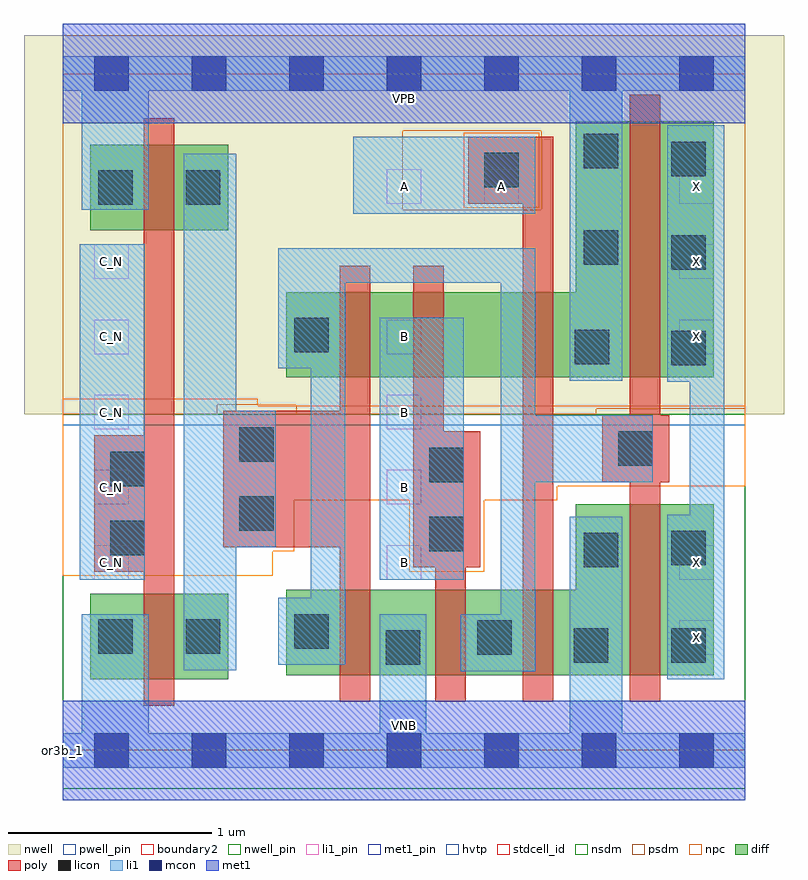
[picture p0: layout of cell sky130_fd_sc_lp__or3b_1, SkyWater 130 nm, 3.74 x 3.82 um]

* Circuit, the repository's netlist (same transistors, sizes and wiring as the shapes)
* Copyright 2020 The SkyWater PDK Authors
*
* Licensed under the Apache License, Version 2.0 (the "License");
* you may not use this file except in compliance with the License.
* You may obtain a copy of the License at
*
*     https://www.apache.org/licenses/LICENSE-2.0
*
* Unless required by applicable law or agreed to in writing, software
* distributed under the License is distributed on an "AS IS" BASIS,
* WITHOUT WARRANTIES OR CONDITIONS OF ANY KIND, either express or implied.
* See the License for the specific language governing permissions and
* limitations under the License.
*
* SPDX-License-Identifier: Apache-2.0

.SUBCKT sky130_fd_sc_lp__or3b_1 A B C_N VGND VNB VPB VPWR X
*.PININFO A:I B:I C_N:I VGND:I VNB:I VPB:I VPWR:I X:O
MMP0 VPWR A sndPA VPB sky130_fd_pr__pfet_01v8_hvt m=1 w=0.42U l=0.15U mult=1 sa=0.265
+ sb=0.265 sd=0.28 area=0.063 perim=1.14
MMP1 sndPA B sndPB VPB sky130_fd_pr__pfet_01v8_hvt m=1 w=0.42U l=0.15U mult=1 sa=0.265
+ sb=0.265 sd=0.28 area=0.063 perim=1.14
MMP2 sndPB C y VPB sky130_fd_pr__pfet_01v8_hvt m=1 w=0.42U l=0.15U mult=1 sa=0.265
+ sb=0.265 sd=0.28 area=0.063 perim=1.14
MMIP2 C C_N VPWR VPB sky130_fd_pr__pfet_01v8_hvt m=1 w=0.42U l=0.15U mult=1 sa=0.265
+ sb=0.265 sd=0.28 area=0.063 perim=1.14
MMIP3 X y VPWR VPB sky130_fd_pr__pfet_01v8_hvt m=1 w=1.26U l=0.15U mult=1 sa=0.265
+ sb=0.265 sd=0.28 area=0.063 perim=1.14
MMN0 y A VGND VNB sky130_fd_pr__nfet_01v8 m=1 w=0.42U l=0.15U mult=1 sa=0.265 sb=0.265
+ sd=0.28 area=0.063 perim=1.14
MMN1 y B VGND VNB sky130_fd_pr__nfet_01v8 m=1 w=0.42U l=0.15U mult=1 sa=0.265 sb=0.265
+ sd=0.28 area=0.063 perim=1.14
MMN2 y C VGND VNB sky130_fd_pr__nfet_01v8 m=1 w=0.42U l=0.15U mult=1 sa=0.265 sb=0.265
+ sd=0.28 area=0.063 perim=1.14
MMIN2 C C_N VGND VNB sky130_fd_pr__nfet_01v8 m=1 w=0.42U l=0.15U mult=1 sa=0.265
+ sb=0.265 sd=0.28 area=0.063 perim=1.14
MMIN3 X y VGND VNB sky130_fd_pr__nfet_01v8 m=1 w=0.84U l=0.15U mult=1 sa=0.265
+ sb=0.265 sd=0.28 area=0.063 perim=1.14
.ENDS sky130_fd_sc_lp__or3b_1

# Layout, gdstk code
import gdstk
lib = gdstk.Library(unit=1e-6, precision=1e-09)
def R(c, l, rs):  # rectangles x0, y0, x1, y1
    for r in rs: c.add(gdstk.rectangle(r[:2], r[2:], *l))
def A(c, l, x, y, w, h, nx, ny, dx, dy):  # array of equal rectangles
    R(c, l, [(x+i*dx, y+j*dy, x+i*dx+w, y+j*dy+h) for i in range(nx) for j in range(ny)])
def P(c, l, *ps):  # polygons
    for p in ps: c.add(gdstk.Polygon(p, *l))
nwell_pin = (64, 16)
nwell = (64, 20)
diff = (65, 20)
poly = (66, 20)
licon = (66, 44)
li1_pin = (67, 16)
li1 = (67, 20)
mcon = (67, 44)
met1_pin = (68, 16)
met1 = (68, 20)
hvtp = (78, 44)
stdcell_id = (81, 4)
nsdm = (93, 44)
psdm = (94, 20)
npc = (95, 20)
pwell_pin = (122, 16)
boundary2 = (236, 0)

sky130_fd_sc_lp__or3b_1 = lib.new_cell('sky130_fd_sc_lp__or3b_1')
R(sky130_fd_sc_lp__or3b_1, nwell_pin, [(0,3.085,3.36,3.33)])
R(sky130_fd_sc_lp__or3b_1, nwell, [(-0.19,1.655,3.55,3.52)])
R(sky130_fd_sc_lp__or3b_1, diff, [(0.135,0.35,0.815,0.77), (0.135,2.56,0.815,2.98)])
P(sky130_fd_sc_lp__or3b_1, diff, [(3.205,1.21),(2.525,1.21),(2.525,0.79),(1.1,0.79),(1.1,0.37),(3.205,0.37)],
  [(3.205,3.095),(2.525,3.095),(2.525,2.255),(1.1,2.255),(1.1,1.835),(3.205,1.835)])
P(sky130_fd_sc_lp__or3b_1, poly, [(0.55,3.11),(0.4,3.11),(0.4,1.55),(0.155,1.55),(0.155,0.88),(0.4,0.88),(0.4,0.22),(0.55,0.22)],
  [(2.985,1.65),(2.94,1.65),(2.94,3.225),(2.79,3.225),(2.79,1.65),(2.655,1.65),(2.655,1.32),(2.79,1.32),(2.79,0.24),(2.94,0.24),(2.94,1.32),(2.985,1.32)],
  [(2.415,3.02),(1.995,3.02),(1.995,2.69),(2.265,2.69),(2.265,0.24),(2.415,0.24)],
  [(2.055,1.57),(1.875,1.57),(1.875,2.385),(1.725,2.385),(1.725,0.9),(1.835,0.9),(1.835,0.24),(1.985,0.24),(1.985,0.9),(2.055,0.9)],
  [(1.515,2.385),(1.365,2.385),(1.365,1.67),(0.79,1.67),(0.79,1),(1.365,1),(1.365,0.24),(1.515,0.24)])
R(sky130_fd_sc_lp__or3b_1, licon, [(1.59,0.42,1.76,0.59), (2.515,0.43,2.685,0.6), (2.995,0.43,3.165,0.6), (2.04,0.47,2.21,0.64), (0.175,0.475,0.345,0.645), (0.605,0.475,0.775,0.645), (1.14,0.5,1.31,0.67), (2.565,0.9,2.735,1.07), (2.995,0.91,3.165,1.08), (0.235,0.96,0.405,1.13), (1.805,0.98,1.975,1.15), (0.87,1.08,1.04,1.25), (0.235,1.3,0.405,1.47), (1.805,1.32,1.975,1.49), (2.735,1.4,2.905,1.57), (0.87,1.42,1.04,1.59), (2.995,1.895,3.165,2.065), (2.52,1.9,2.69,2.07), (1.14,1.96,1.31,2.13), (2.995,2.365,3.165,2.535), (2.565,2.39,2.735,2.56), (0.175,2.685,0.345,2.855), (0.605,2.685,0.775,2.855), (2.075,2.77,2.245,2.94), (2.995,2.825,3.165,2.995), (2.565,2.865,2.735,3.035)])
A(sky130_fd_sc_lp__or3b_1, li1_pin, 0.155, 0.84, 0.17, 0.17, 3, 2, 1.44, 1.11)
R(sky130_fd_sc_lp__or3b_1, li1_pin, [(3.035,0.47,3.205,0.64), (0.155,1.21,0.325,1.38), (1.595,1.21,1.765,1.38), (0.155,1.58,0.325,1.75), (1.595,1.58,1.765,1.75), (0.155,2.32,0.325,2.49), (3.035,2.32,3.205,2.49), (1.595,2.69,1.765,2.86), (2.075,2.69,2.245,2.86), (3.035,2.69,3.205,2.86)])
R(sky130_fd_sc_lp__or3b_1, li1, [(0.085,0.84,0.405,2.49), (1.56,0.84,1.975,2.13), (1.43,2.64,2.325,3.02)])
P(sky130_fd_sc_lp__or3b_1, li1, [(3.255,3.075),(2.975,3.075),(2.975,1.815),(3.085,1.815),(3.085,1.16),(2.975,1.16),(2.975,0.35),(3.255,0.35)],
  [(1.05,1.67),(0.855,1.67),(0.855,2.935),(0.595,2.935),(0.595,0.395),(0.855,0.395),(0.855,1),(1.05,1)],
  [(2.905,1.65),(2.325,1.65),(2.325,2.47),(1.06,2.47),(1.06,1.88),(1.22,1.88),(1.22,0.75),(1.06,0.75),(1.06,0.42),(1.39,0.42),(1.39,2.3),(2.155,2.3),(2.155,0.67),(1.96,0.67),(1.96,0.39),(2.325,0.39),(2.325,1.32),(2.905,1.32)],
  [(3.36,0.085),(2.755,0.085),(2.755,1.15),(2.495,1.15),(2.495,0.085),(1.79,0.085),(1.79,0.67),(1.56,0.67),(1.56,0.085),(0.425,0.085),(0.425,0.67),(0.095,0.67),(0.095,0.085),(0,0.085),(0,-0.085),(3.36,-0.085)],
  [(3.36,3.415),(0,3.415),(0,3.245),(0.095,3.245),(0.095,2.66),(0.425,2.66),(0.425,3.245),(2.495,3.245),(2.495,1.82),(2.755,1.82),(2.755,3.245),(3.36,3.245)])
A(sky130_fd_sc_lp__or3b_1, mcon, 0.155, -0.085, 0.17, 0.17, 7, 2, 0.48, 3.33)
R(sky130_fd_sc_lp__or3b_1, met1_pin, [(0,0,3.36,0.245), (0,3.085,3.36,3.33)])
R(sky130_fd_sc_lp__or3b_1, met1, [(0,-0.245,3.36,0.245), (0,3.085,3.36,3.575)])
R(sky130_fd_sc_lp__or3b_1, hvtp, [(0,1.6,3.36,3.33)])
R(sky130_fd_sc_lp__or3b_1, stdcell_id, [(0,0,3.36,3.33)])
R(sky130_fd_sc_lp__or3b_1, nsdm, [(0,-0.19,3.36,1.655)])
P(sky130_fd_sc_lp__or3b_1, psdm, [(3.36,3.52),(2.355,3.52),(2.355,2.66),(1.675,2.66),(1.675,3.05),(2.355,3.05),(2.355,3.52),(0,3.52),(0,1.655),(0.76,1.655),(0.76,1.7),(1.15,1.7),(1.15,1.655),(2.625,1.655),(2.625,1.68),(3.36,1.68)])
R(sky130_fd_sc_lp__or3b_1, npc, [(1.975,2.67,2.345,3.04)])
P(sky130_fd_sc_lp__or3b_1, npc, [(3.36,1.695),(0.96,1.695),(0.96,1.73),(0,1.73),(0,0.86),(1.035,0.86),(1.035,0.98),(1.14,0.98),(1.14,1.23),(1.705,1.23),(1.705,0.88),(2.075,0.88),(2.075,1.23),(2.435,1.23),(2.435,1.3),(3.36,1.3)])
R(sky130_fd_sc_lp__or3b_1, pwell_pin, [(0,0,3.36,0.245)])
R(sky130_fd_sc_lp__or3b_1, boundary2, [(0,0,3.36,3.33)])
sky130_fd_sc_lp__or3b_1.add(gdstk.Label('VNB', (1.68,0.123), layer=64, texttype=59))
sky130_fd_sc_lp__or3b_1.add(gdstk.Label('VPB', (1.68,3.208), layer=64, texttype=5))
sky130_fd_sc_lp__or3b_1.add(gdstk.Label('or3b_1', (0,0), layer=83, texttype=44))
sky130_fd_sc_lp__or3b_1.add(gdstk.Label('VPWR', (1.68,3.208), layer=68, texttype=5))
sky130_fd_sc_lp__or3b_1.add(gdstk.Label('VGND', (1.68,0.123), layer=68, texttype=5))
sky130_fd_sc_lp__or3b_1.add(gdstk.Label('B', (1.68,0.925), layer=67, texttype=5))
sky130_fd_sc_lp__or3b_1.add(gdstk.Label('B', (1.68,1.295), layer=67, texttype=5))
sky130_fd_sc_lp__or3b_1.add(gdstk.Label('B', (1.68,1.665), layer=67, texttype=5))
sky130_fd_sc_lp__or3b_1.add(gdstk.Label('B', (1.68,2.035), layer=67, texttype=5))
sky130_fd_sc_lp__or3b_1.add(gdstk.Label('C_N', (0.24,0.925), layer=67, texttype=5))
sky130_fd_sc_lp__or3b_1.add(gdstk.Label('C_N', (0.24,1.295), layer=67, texttype=5))
sky130_fd_sc_lp__or3b_1.add(gdstk.Label('C_N', (0.24,1.665), layer=67, texttype=5))
sky130_fd_sc_lp__or3b_1.add(gdstk.Label('C_N', (0.24,2.035), layer=67, texttype=5))
sky130_fd_sc_lp__or3b_1.add(gdstk.Label('C_N', (0.24,2.405), layer=67, texttype=5))
sky130_fd_sc_lp__or3b_1.add(gdstk.Label('X', (3.12,0.555), layer=67, texttype=5))
sky130_fd_sc_lp__or3b_1.add(gdstk.Label('X', (3.12,0.925), layer=67, texttype=5))
sky130_fd_sc_lp__or3b_1.add(gdstk.Label('A', (1.68,2.775), layer=67, texttype=5))
sky130_fd_sc_lp__or3b_1.add(gdstk.Label('A', (2.16,2.775), layer=67, texttype=5))
sky130_fd_sc_lp__or3b_1.add(gdstk.Label('X', (3.12,2.775), layer=67, texttype=5))
sky130_fd_sc_lp__or3b_1.add(gdstk.Label('X', (3.12,2.405), layer=67, texttype=5))
sky130_fd_sc_lp__or3b_1.add(gdstk.Label('X', (3.12,2.035), layer=67, texttype=5))

lib.write_gds('sky130_fd_sc_lp__or3b_1.gds')
